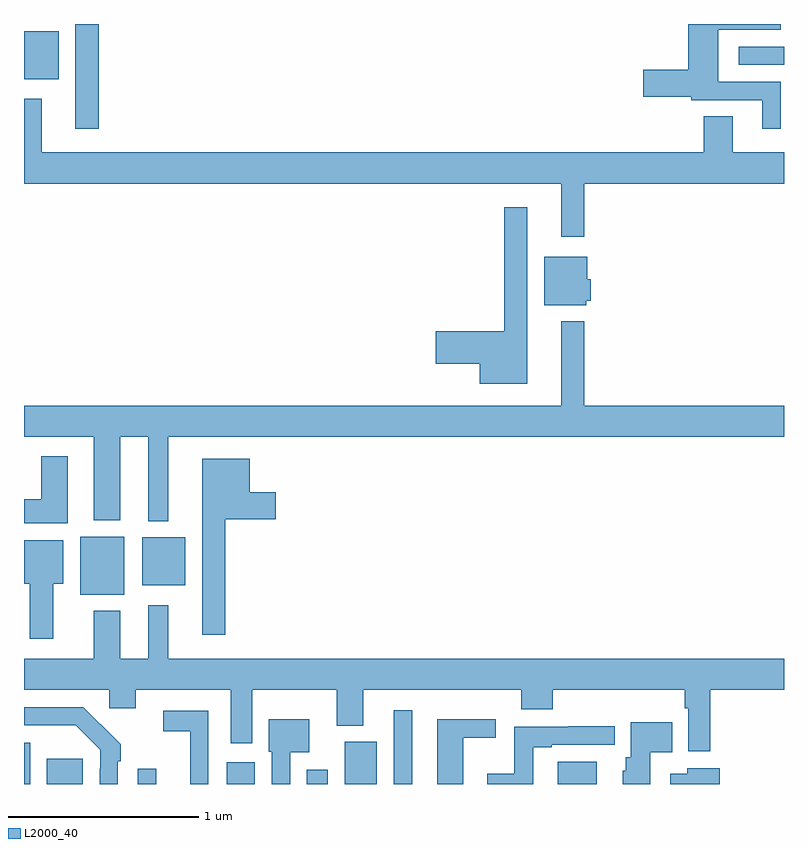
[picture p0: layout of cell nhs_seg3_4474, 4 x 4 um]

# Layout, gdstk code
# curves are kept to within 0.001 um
import gdstk
lib = gdstk.Library(unit=1e-6, precision=1e-09)
def R(c, l, rs):  # rectangles x0, y0, x1, y1
    for r in rs: c.add(gdstk.rectangle(r[:2], r[2:], *l))
def P(c, l, *ps):  # polygons
    for p in ps: c.add(gdstk.Polygon(p, *l))
L2000_40 = (2000, 40)

nhs_seg3_4474 = lib.new_cell('nhs_seg3_4474')
R(nhs_seg3_4474, L2000_40, [(349,720.4,349.032,720.618), (349.121,720.4,349.309,720.532), (349.599,720.4,349.695,720.481), (350.066,720.4,350.215,720.514), (350.489,720.4,350.599,720.475), (350.687,720.4,350.857,720.622), (350.946,720.4,351.043,720.787), (351.809,720.4,352.015,720.517), (349.295,721.397,349.528,721.702), (349.622,721.445,349.849,721.699), (349.271,723.849,349.393,724.4), (349,724.109,349.183,724.363), (352.761,724.185,353,724.281)])
P(nhs_seg3_4474, L2000_40, [(352.984,724.095),(352.654,724.095),(352.654,724.37),(352.984,724.37),(352.984,724.4),(352.496,724.4),(352.496,724.16),(352.26,724.16),(352.26,724.018),(352.512,724.018),(352.512,723.999),(352.886,723.999),(352.886,723.849),(352.984,723.849)],
  [(351.949,723.56),(353,723.56),(353,723.724),(352.729,723.724),(352.729,723.914),(352.577,723.914),(352.577,723.724),(349.093,723.724),(349.093,724.006),(349,724.006),(349,723.56),(351.827,723.56),(351.827,723.279),(351.949,723.279)],
  [(351.649,723.436),(351.528,723.436),(351.528,722.783),(351.168,722.783),(351.168,722.612),(351.398,722.612),(351.398,722.507),(351.649,722.507)],
  [(351.96,722.943),(351.982,722.943),(351.982,723.057),(351.964,723.057),(351.964,723.175),(351.737,723.175),(351.737,722.921),(351.96,722.921)],
  [(349.759,722.228),(353,722.228),(353,722.392),(351.949,722.392),(351.949,722.836),(351.827,722.836),(351.827,722.392),(349,722.392),(349,722.228),(349.367,722.228),(349.367,721.787),(349.507,721.787),(349.507,722.228),(349.655,722.228),(349.655,721.784),(349.759,721.784)],
  [(349.231,722.125),(349.091,722.125),(349.091,721.9),(349,721.9),(349,721.772),(349.231,721.772)],
  [(350.059,721.793),(350.326,721.793),(350.326,721.935),(350.188,721.935),(350.188,722.113),(349.937,722.113),(349.937,721.185),(350.059,721.185)],
  [(349.153,721.454),(349.207,721.454),(349.207,721.684),(349,721.684),(349,721.454),(349.031,721.454),(349.031,721.164),(349.153,721.164)],
  [(352.613,720.896),(353,720.896),(353,721.06),(349.759,721.06),(349.759,721.342),(349.655,721.342),(349.655,721.06),(349.507,721.06),(349.507,721.312),(349.367,721.312),(349.367,721.06),(349,721.06),(349,720.896),(349.449,720.896),(349.449,720.798),(349.588,720.798),(349.588,720.896),(350.087,720.896),(350.087,720.615),(350.2,720.615),(350.2,720.896),(350.645,720.896),(350.645,720.707),(350.785,720.707),(350.785,720.896),(351.617,720.896),(351.617,720.794),(351.782,720.794),(351.782,720.896),(352.477,720.896),(352.477,720.8),(352.497,720.8),(352.497,720.573),(352.613,720.573)],
  [(349.494,720.521),(349.509,720.521),(349.509,720.609),(349.312,720.804),(349,720.804),(349,720.708),(349.273,720.708),(349.401,720.579),(349.401,720.479),(349.398,720.479),(349.398,720.4),(349.494,720.4)],
  [(349.971,720.786),(349.734,720.786),(349.734,720.678),(349.874,720.678),(349.874,720.4),(349.971,720.4)],
  [(350.4,720.566),(350.5,720.566),(350.5,720.742),(350.288,720.742),(350.288,720.57),(350.304,720.57),(350.304,720.4),(350.4,720.4)],
  [(351.313,720.644),(351.484,720.644),(351.484,720.742),(351.176,720.742),(351.176,720.4),(351.313,720.4)],
  [(352.297,720.566),(352.412,720.566),(352.412,720.724),(352.193,720.724),(352.193,720.54),(352.166,720.54),(352.166,720.471),(352.151,720.471),(352.151,720.4),(352.297,720.4)],
  [(351.681,720.594),(351.778,720.594),(351.778,720.606),(352.108,720.606),(352.108,720.704),(351.865,720.704),(351.865,720.702),(351.58,720.702),(351.58,720.454),(351.438,720.454),(351.438,720.4),(351.681,720.4)],
  [(352.661,720.484),(352.49,720.484),(352.49,720.454),(352.4,720.454),(352.4,720.4),(352.661,720.4)])

lib.write_gds('nhs_seg3_4474.gds')
